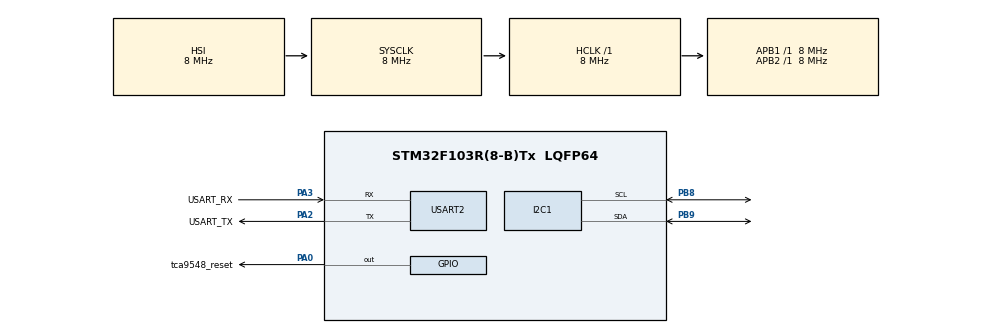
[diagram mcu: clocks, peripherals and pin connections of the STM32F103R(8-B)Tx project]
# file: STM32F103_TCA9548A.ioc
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Mcu.Family=STM32F1
Mcu.Name=STM32F103R(8-B)Tx
Mcu.Package=LQFP64
NVIC.PriorityGroup=NVIC_PRIORITYGROUP_4
PA0-WKUP.GPIO_Label=tca9548_reset
PA0-WKUP.GPIO_PuPd=GPIO_PULLUP
PA0-WKUP.PinState=GPIO_PIN_SET
PA0-WKUP.Signal=GPIO_Output
PA13.GPIO_Label=TMS
PA13.Mode=Serial_Wire
PA13.Signal=SYS_JTMS-SWDIO
PA14.GPIO_Label=TCK
PA14.Mode=Serial_Wire
PA14.Signal=SYS_JTCK-SWCLK
PA2.GPIO_Label=USART_TX
PA2.GPIO_Mode=GPIO_MODE_AF_PP
PA2.GPIO_PuPd=GPIO_NOPULL
PA2.GPIO_Speed=GPIO_SPEED_FREQ_LOW
PA2.Mode=Asynchronous
PA2.Signal=USART2_TX
PA3.GPIO_Label=USART_RX
PA3.GPIO_Mode=GPIO_MODE_AF_PP
PA3.GPIO_PuPd=GPIO_NOPULL
PA3.GPIO_Speed=GPIO_SPEED_FREQ_LOW
PA3.Mode=Asynchronous
PA3.Signal=USART2_RX
PB8.Mode=I2C
PB8.Signal=I2C1_SCL
PB9.Mode=I2C
PB9.Signal=I2C1_SDA
PC14-OSC32_IN.Signal=RCC_OSC32_IN
PC15-OSC32_OUT.Signal=RCC_OSC32_OUT
PD0-OSC_IN.Mode=HSE-External-Oscillator
PD0-OSC_IN.Signal=RCC_OSC_IN
PD1-OSC_OUT.Mode=HSE-External-Oscillator
PD1-OSC_OUT.Signal=RCC_OSC_OUT
ProjectManager.HeapSize=0x200
ProjectManager.StackSize=0x400
ProjectManager.TargetToolchain=STM32CubeIDE
RCC.AHBFreq_Value=8000000
RCC.APB1Freq_Value=8000000
RCC.APB1TimFreq_Value=8000000
RCC.APB2Freq_Value=8000000
RCC.APB2TimFreq_Value=8000000
RCC.HCLKFreq_Value=8000000
RCC.PLLMUL=RCC_PLL_MUL4
RCC.PLLSourceVirtual=RCC_PLLSOURCE_HSE
RCC.RTCClockSelection=RCC_RTCCLKSOURCE_LSE
RCC.SYSCLKFreq_VALUE=8000000
RCC.USBFreq_Value=32000000
USART2.VirtualMode=VM_ASYNC
board=NUCLEO-F103RB

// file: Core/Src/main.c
/* USER CODE BEGIN Header */
/**
  ******************************************************************************
  * @file           : main.c
  * @brief          : Main program body
  ******************************************************************************
  * @attention
  *
  * <h2><center>&copy; Copyright (c) 2020 STMicroelectronics.
  * All rights reserved.</center></h2>
  *
  * This software component is licensed by ST under BSD 3-Clause license,
  * the "License"; You may not use this file except in compliance with the
  * License. You may obtain a copy of the License at:
  *                        opensource.org/licenses/BSD-3-Clause
  *
  ******************************************************************************
  */
/* USER CODE END Header */
#include "main.h"
#include "i2c.h"
#include "usart.h"
#include "gpio.h"

/* USER CODE BEGIN Includes */
#include <string.h>
#include <stdio.h>
#include "tca9548a.h"
/* USER CODE END Includes */

void SystemClock_Config(void);

int main(void)
{
  /* USER CODE BEGIN 1 */
uint8_t temp;
char buf[80] = {0};
  /* USER CODE END 1 */

  /* MCU Configuration--------------------------------------------------------*/

  /* Reset of all peripherals, Initializes the Flash interface and the Systick. */
  HAL_Init();

  /* Configure the system clock */
  SystemClock_Config();

  /* Initialize all configured peripherals */
  MX_GPIO_Init();
  MX_USART2_UART_Init();
  MX_I2C1_Init();

  /* Infinite loop */
  /* USER CODE BEGIN WHILE */
  while (1)
  {

	/*---------------------*/
	/*test library tca9548a*/
	/*---------------------*/

	  //setting the control register to 0x0
	 Tca9548SelectCh(CHALL_DIS);

	 /*---------------------*/
	//check Tca9548GetControlReg
	/*---------------------*/

	//get control register from tca9548
	temp = Tca9548GetControlReg();
	//send the value of the control register to UART2
	sprintf(buf, "The control register = %#x\n\r", temp);
		HAL_UART_Transmit(&huart2, (uint8_t *)buf, strlen(buf), 100);
		HAL_Delay(1000);

	/*---------------------*/
	//check Tca9548SelectCh
	/*---------------------*/

	//set the value (CH0_EN | CH3_EN) of the control register.  CH0_EN | CH3_EN = 0000 1001b = 0x9
	Tca9548SelectCh(CH0_EN | CH3_EN);

	//check setting the control register
	temp = Tca9548GetControlReg();
	//send the value of the control register to UART2
	sprintf(buf, "The control register after setting Tca9548GetControlReg = %#x\n\r", temp);
	HAL_UART_Transmit(&huart2, (uint8_t *)buf, strlen(buf), 100);
	HAL_Delay(1000);

	/*---------------------*/
	//check Tca9548ResetInput
	/*---------------------*/

	//Reset of the control register to 0x0
	Tca9548ResetInput(tca9548_reset_GPIO_Port, tca9548_reset_Pin);

	//check reset the control register
	temp = Tca9548GetControlReg();
	//send the value of the control register to UART2
	sprintf(buf, "The control register after reset = %#x\n\r", temp);
	HAL_UART_Transmit(&huart2, (uint8_t *)buf, strlen(buf), 100);
	HAL_Delay(1000);

	//setting of the control register to value of CH0_EN | CH2_EN = 0000 0011b
	Tca9548SelectCh(CH0_EN | CH2_EN);

	//check setting the control register
	temp = Tca9548GetControlReg();
	//send the value of the control register to UART2
	sprintf(buf, "The control register after reset and set again = %#x\n\r\n\n\n\n\n", temp);
	HAL_UART_Transmit(&huart2, (uint8_t *)buf, strlen(buf), 100);
	HAL_Delay(5000);

    /* USER CODE END WHILE */

  }
}

void SystemClock_Config(void)
{
  RCC_OscInitTypeDef RCC_OscInitStruct = {0};
  RCC_ClkInitTypeDef RCC_ClkInitStruct = {0};

  /** Initializes the RCC Oscillators according to the specified parameters
  * in the RCC_OscInitTypeDef structure.
  */
  RCC_OscInitStruct.OscillatorType = RCC_OSCILLATORTYPE_HSI;
  RCC_OscInitStruct.HSIState = RCC_HSI_ON;
  RCC_OscInitStruct.HSICalibrationValue = RCC_HSICALIBRATION_DEFAULT;
  RCC_OscInitStruct.PLL.PLLState = RCC_PLL_NONE;
  if (HAL_RCC_OscConfig(&RCC_OscInitStruct) != HAL_OK)
  {
    Error_Handler();
  }
  /** Initializes the CPU, AHB and APB buses clocks
  */
  RCC_ClkInitStruct.ClockType = RCC_CLOCKTYPE_HCLK|RCC_CLOCKTYPE_SYSCLK
                              |RCC_CLOCKTYPE_PCLK1|RCC_CLOCKTYPE_PCLK2;
  RCC_ClkInitStruct.SYSCLKSource = RCC_SYSCLKSOURCE_HSI;
  RCC_ClkInitStruct.AHBCLKDivider = RCC_SYSCLK_DIV1;
  RCC_ClkInitStruct.APB1CLKDivider = RCC_HCLK_DIV1;
  RCC_ClkInitStruct.APB2CLKDivider = RCC_HCLK_DIV1;

  if (HAL_RCC_ClockConfig(&RCC_ClkInitStruct, FLASH_LATENCY_0) != HAL_OK)
  {
    Error_Handler();
  }
}

void Error_Handler(void)
{
  __disable_irq();
  while (1)
  {
  }
}

/************************ (C) COPYRIGHT STMicroelectronics *****END OF FILE****/
